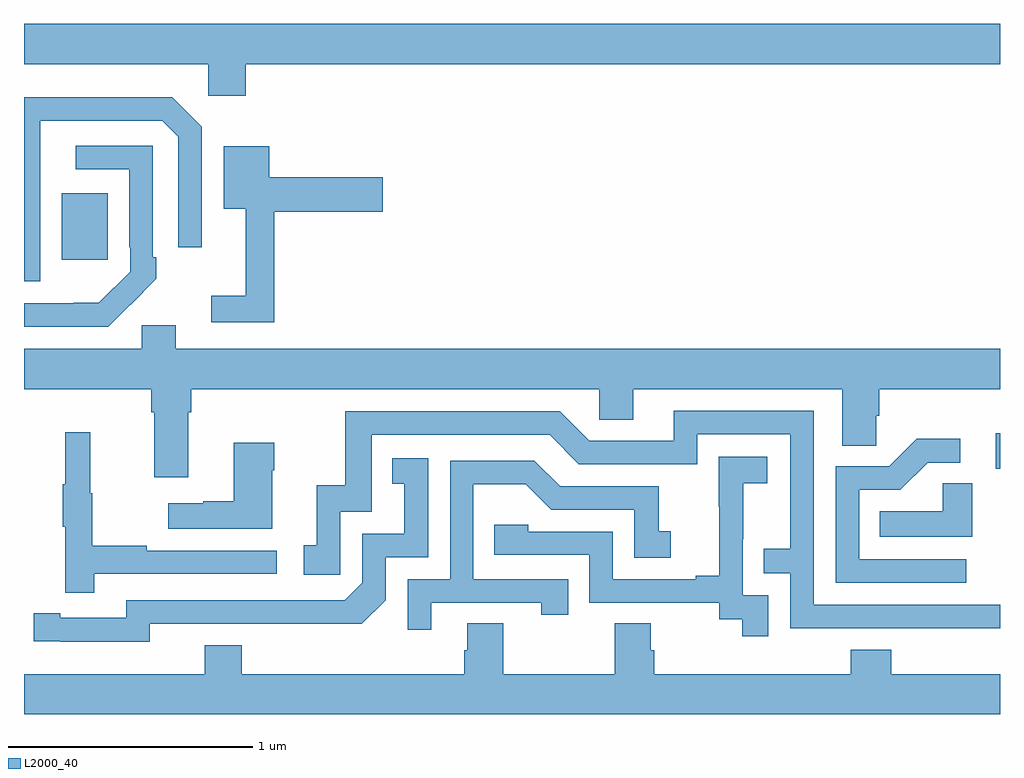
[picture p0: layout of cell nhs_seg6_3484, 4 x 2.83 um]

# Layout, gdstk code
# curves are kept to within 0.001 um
import gdstk
lib = gdstk.Library(unit=1e-6, precision=1e-09)
def R(c, l, rs):  # rectangles x0, y0, x1, y1
    for r in rs: c.add(gdstk.rectangle(r[:2], r[2:], *l))
def P(c, l, *ps):  # polygons
    for p in ps: c.add(gdstk.Polygon(p, *l))
L2000_40 = (2000, 40)

nhs_seg6_3484 = lib.new_cell('nhs_seg6_3484')
R(nhs_seg6_3484, L2000_40, [(318.983,981.642,319,981.787), (315.155,982.497,315.343,982.771)])
P(nhs_seg6_3484, L2000_40, [(315.908,983.3),(319,983.3),(319,983.464),(315,983.464),(315,983.3),(315.756,983.3),(315.756,983.169),(315.908,983.169)],
  [(315.066,982.867),(315.067,982.867),(315.067,983.067),(315.567,983.067),(315.633,983.001),(315.633,982.548),(315.729,982.548),(315.729,983.043),(315.608,983.164),(315,983.164),(315,982.41),(315.066,982.41)],
  [(315.437,982.315),(315.438,982.314),(315.543,982.419),(315.543,982.507),(315.528,982.507),(315.528,982.965),(315.213,982.965),(315.213,982.869),(315.432,982.869),(315.432,982.549),(315.435,982.549),(315.435,982.449),(315.307,982.321),(315,982.32),(315,982.224),(315.346,982.224)],
  [(316.025,982.694),(316.471,982.694),(316.471,982.836),(316.006,982.836),(316.006,982.963),(315.818,982.963),(315.818,982.706),(315.908,982.706),(315.908,982.351),(315.768,982.351),(315.768,982.242),(316.025,982.242)],
  [(315.622,982.23),(315.483,982.23),(315.483,982.132),(315,982.132),(315,981.968),(315.521,981.968),(315.521,981.872),(315.533,981.872),(315.533,981.606),(315.673,981.606),(315.673,981.872),(315.686,981.872),(315.686,981.968),(317.358,981.968),(317.358,981.841),(317.497,981.841),(317.497,981.968),(318.353,981.968),(318.353,981.736),(318.492,981.736),(318.492,981.859),(318.506,981.859),(318.506,981.968),(319,981.968),(319,982.132),(315.622,982.132)],
  [(319,981.084),(318.237,981.084),(318.237,981.879),(317.663,981.879),(317.663,981.756),(317.316,981.756),(317.196,981.876),(316.317,981.876),(316.317,981.574),(316.199,981.574),(316.199,981.327),(316.146,981.327),(316.146,981.207),(316.296,981.207),(316.296,981.465),(316.425,981.465),(316.425,981.78),(317.154,981.78),(317.274,981.66),(317.76,981.66),(317.76,981.783),(318.141,981.783),(318.141,981.314),(318.031,981.314),(318.031,981.213),(318.141,981.213),(318.141,980.988),(319,980.987)],
  [(315.287,981.21),(316.036,981.21),(316.036,981.306),(315.503,981.306),(315.503,981.326),(315.28,981.326),(315.28,981.54),(315.272,981.54),(315.272,981.79),(315.17,981.79),(315.17,981.577),(315.159,981.577),(315.159,981.403),(315.17,981.403),(315.17,981.132),(315.287,981.132)],
  [(318.862,981.27),(318.423,981.27),(318.423,981.555),(318.592,981.555),(318.703,981.666),(318.838,981.666),(318.838,981.764),(318.659,981.764),(318.546,981.651),(318.327,981.651),(318.327,981.174),(318.862,981.174)],
  [(316.018,981.635),(316.026,981.635),(316.026,981.748),(315.86,981.748),(315.86,981.509),(315.734,981.509),(315.734,981.499),(315.591,981.499),(315.591,981.395),(316.018,981.395)],
  [(318.051,981.123),(317.946,981.123),(317.946,981.353),(317.948,981.353),(317.948,981.581),(318.046,981.581),(318.046,981.691),(317.848,981.691),(317.848,981.485),(317.849,981.485),(317.849,981.202),(317.753,981.202),(317.753,981.189),(317.412,981.189),(317.412,981.384),(317.067,981.384),(317.067,981.411),(316.927,981.411),(316.927,981.288),(317.316,981.288),(317.316,981.093),(317.85,981.093),(317.85,981.025),(317.943,981.025),(317.943,980.955),(318.051,980.955)],
  [(315.516,981.006),(316.384,981.005),(316.482,981.102),(316.482,981.279),(316.656,981.279),(316.656,981.685),(316.51,981.685),(316.51,981.579),(316.559,981.579),(316.559,981.375),(316.386,981.375),(316.386,981.174),(316.314,981.102),(315.42,981.102),(315.42,981.03),(315.148,981.03),(315.148,981.05),(315.04,981.05),(315.04,980.934),(315.516,980.933)],
  [(316.669,981.093),(317.12,981.093),(317.12,981.042),(317.231,981.042),(317.231,981.189),(316.842,981.189),(316.842,981.578),(317.056,981.578),(317.16,981.474),(317.502,981.474),(317.502,981.276),(317.65,981.276),(317.65,981.385),(317.601,981.385),(317.601,981.57),(317.197,981.57),(317.092,981.675),(316.746,981.675),(316.746,981.189),(316.572,981.189),(316.572,980.982),(316.669,980.982)],
  [(318.886,981.581),(318.765,981.581),(318.765,981.466),(318.508,981.466),(318.508,981.362),(318.886,981.362)],
  [(319,980.8),(318.554,980.8),(318.554,980.899),(318.389,980.899),(318.389,980.8),(317.582,980.8),(317.582,980.898),(317.569,980.898),(317.569,981.008),(317.422,981.008),(317.422,980.8),(316.965,980.8),(316.965,981.008),(316.817,981.008),(316.817,980.898),(316.805,980.898),(316.805,980.8),(315.893,980.8),(315.893,980.917),(315.74,980.917),(315.74,980.8),(315,980.8),(315,980.636),(319,980.636)])

lib.write_gds('nhs_seg6_3484.gds')
